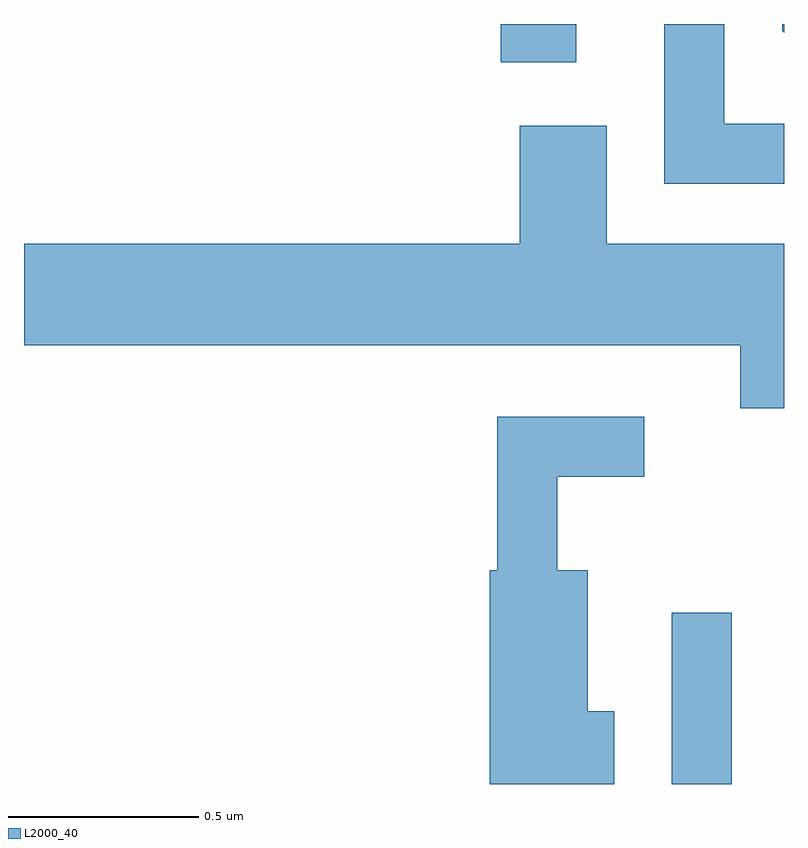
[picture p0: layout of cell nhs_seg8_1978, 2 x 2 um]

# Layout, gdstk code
import gdstk
lib = gdstk.Library(unit=1e-6, precision=1e-09)
def R(c, l, rs):  # rectangles x0, y0, x1, y1
    for r in rs: c.add(gdstk.rectangle(r[:2], r[2:], *l))
def P(c, l, *ps):  # polygons
    for p in ps: c.add(gdstk.Polygon(p, *l))
L2000_40 = (2000, 40)

nhs_seg8_1978 = lib.new_cell('nhs_seg8_1978')
R(nhs_seg8_1978, L2000_40, [(201.316,1866.342,201.474,1866.793), (200.866,1868.241,201.064,1868.342)])
P(nhs_seg8_1978, L2000_40, [(201.611,1868.079),(201.454,1868.079),(201.454,1868.342),(201.296,1868.342),(201.296,1867.921),(201.611,1867.921)],
  [(201.611,1868.342),(201.606,1868.342),(201.606,1868.324),(201.611,1868.319)],
  [(201.611,1867.764),(201.144,1867.764),(201.144,1868.074),(200.916,1868.074),(200.916,1867.764),(199.611,1867.764),(199.611,1867.496),(201.496,1867.496),(201.496,1867.331),(201.611,1867.331)],
  [(201.164,1866.534),(201.094,1866.534),(201.094,1866.904),(201.014,1866.904),(201.014,1867.151),(201.243,1867.151),(201.243,1867.309),(200.856,1867.309),(200.856,1866.904),(200.836,1866.904),(200.836,1866.342),(201.164,1866.342)])

lib.write_gds('nhs_seg8_1978.gds')
